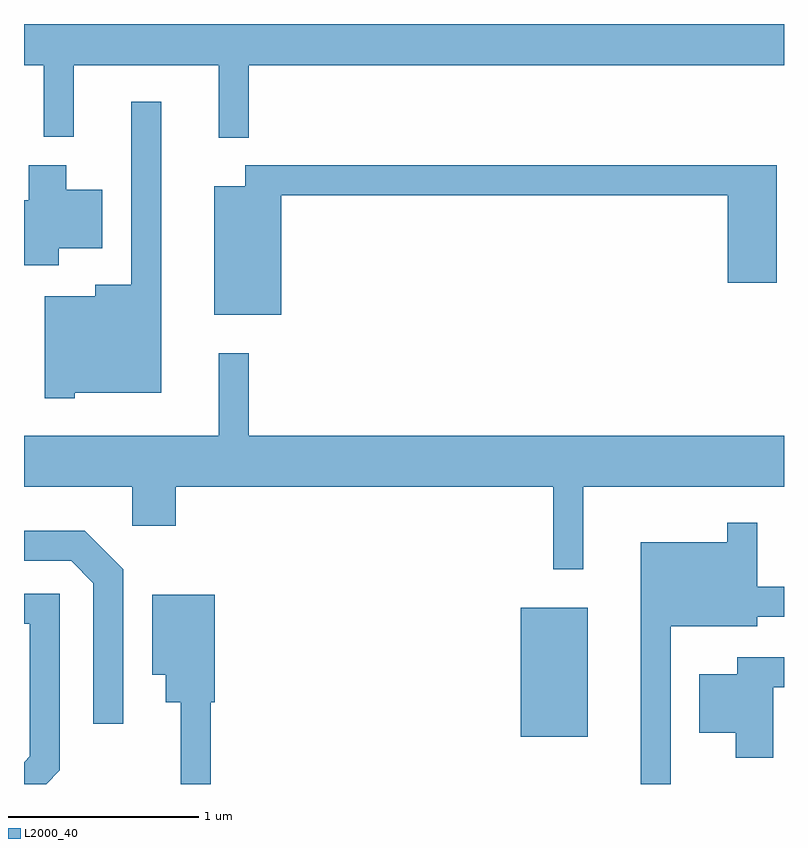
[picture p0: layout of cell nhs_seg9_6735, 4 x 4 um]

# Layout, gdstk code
import gdstk
lib = gdstk.Library(unit=1e-6, precision=1e-09)
def R(c, l, rs):  # rectangles x0, y0, x1, y1
    for r in rs: c.add(gdstk.rectangle(r[:2], r[2:], *l))
def P(c, l, *ps):  # polygons
    for p in ps: c.add(gdstk.Polygon(p, *l))
L2000_40 = (2000, 40)

nhs_seg9_6735 = lib.new_cell('nhs_seg9_6735')
R(nhs_seg9_6735, L2000_40, [(386.226,2032.681,386.579,2033.359)])
P(nhs_seg9_6735, L2000_40, [(383.611,2036.216),(383.716,2036.216),(383.716,2035.838),(383.874,2035.838),(383.874,2036.216),(384.636,2036.216),(384.636,2035.833),(384.794,2035.833),(384.794,2036.216),(387.611,2036.216),(387.611,2036.432),(383.611,2036.432)],
  [(383.879,2034.491),(384.334,2034.491),(384.334,2036.023),(384.176,2036.023),(384.176,2035.059),(383.986,2035.059),(383.986,2034.999),(383.721,2034.999),(383.721,2034.461),(383.879,2034.461)],
  [(384.964,2035.531),(387.316,2035.531),(387.316,2035.071),(387.574,2035.071),(387.574,2035.689),(384.776,2035.689),(384.776,2035.579),(384.611,2035.579),(384.611,2034.901),(384.964,2034.901)],
  [(383.794,2035.251),(384.024,2035.251),(384.024,2035.559),(383.834,2035.559),(383.834,2035.689),(383.636,2035.689),(383.636,2035.504),(383.611,2035.504),(383.611,2035.161),(383.794,2035.161)],
  [(386.554,2033.996),(387.611,2033.996),(387.611,2034.264),(384.794,2034.264),(384.794,2034.698),(384.636,2034.698),(384.636,2034.264),(383.611,2034.264),(383.611,2033.996),(384.181,2033.996),(384.181,2033.791),(384.409,2033.791),(384.409,2033.996),(386.396,2033.996),(386.396,2033.563),(386.554,2033.563)],
  [(387.014,2033.261),(387.469,2033.261),(387.469,2033.311),(387.611,2033.311),(387.611,2033.469),(387.469,2033.469),(387.469,2033.808),(387.311,2033.808),(387.311,2033.704),(386.856,2033.704),(386.856,2032.432),(387.014,2032.432)],
  [(384.134,2033.562),(383.932,2033.764),(383.611,2033.764),(383.611,2033.606),(383.859,2033.606),(383.976,2033.489),(383.976,2032.748),(384.134,2032.748)],
  [(383.799,2032.504),(383.799,2033.434),(383.611,2033.434),(383.611,2033.276),(383.641,2033.276),(383.641,2032.577),(383.611,2032.547),(383.611,2032.432),(383.727,2032.432)],
  [(384.594,2032.861),(384.614,2032.861),(384.614,2033.429),(384.286,2033.429),(384.286,2033.006),(384.356,2033.006),(384.356,2032.861),(384.436,2032.861),(384.436,2032.432),(384.594,2032.432)],
  [(387.554,2032.941),(387.611,2032.941),(387.611,2033.099),(387.366,2033.099),(387.366,2033.009),(387.166,2033.009),(387.166,2032.701),(387.356,2032.701),(387.356,2032.571),(387.554,2032.571)])

lib.write_gds('nhs_seg9_6735.gds')
